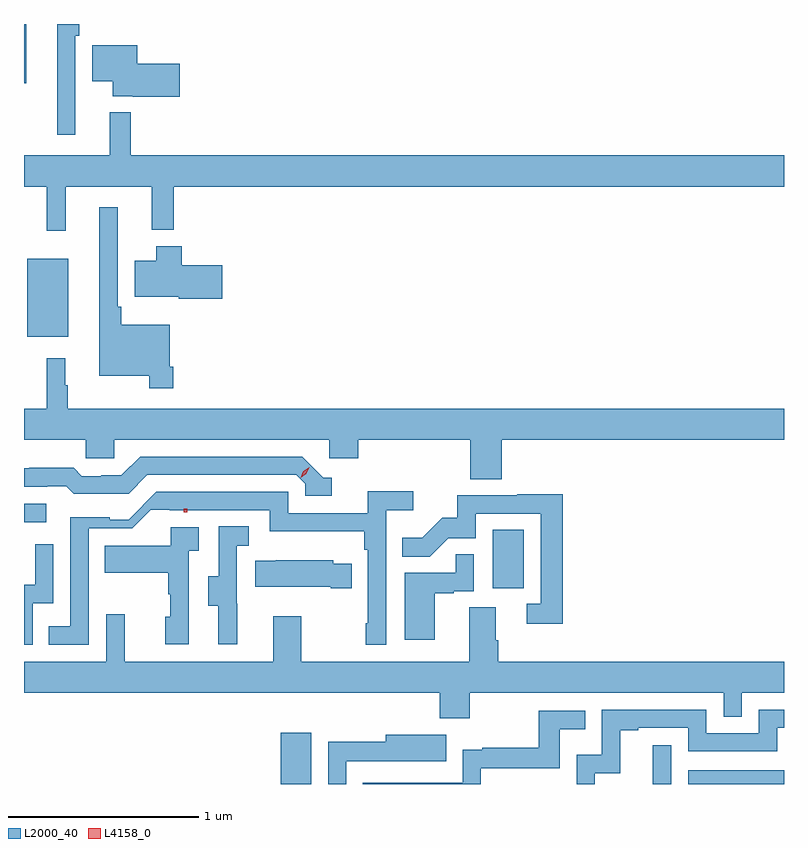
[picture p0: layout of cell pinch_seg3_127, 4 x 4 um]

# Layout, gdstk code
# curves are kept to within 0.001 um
import gdstk
lib = gdstk.Library(unit=1e-6, precision=1e-09)
def R(c, l, rs):  # rectangles x0, y0, x1, y1
    for r in rs: c.add(gdstk.rectangle(r[:2], r[2:], *l))
def P(c, l, *ps):  # polygons
    for p in ps: c.add(gdstk.Polygon(p, *l))
L2000_40 = (2000, 40)
L4158_0 = (4158, 0)

pinch_seg3_127 = lib.new_cell('pinch_seg3_127')
R(pinch_seg3_127, L2000_40, [(1129.724,712.424,1129.885,712.693), (1131.683,712.424,1131.78,712.627), (1131.87,712.424,1132.374,712.497), (1130.84,713.454,1131.004,713.761), (1128.374,713.802,1128.49,713.898), (1128.392,714.779,1128.607,715.189), (1128.374,716.111,1128.385,716.424)])
P(pinch_seg3_127, L2000_40, [(1128.645,716.363),(1128.665,716.363),(1128.665,716.424),(1128.548,716.424),(1128.548,715.842),(1128.645,715.842)],
  [(1129.195,716.216),(1128.97,716.216),(1128.97,716.311),(1128.734,716.311),(1128.734,716.123),(1128.842,716.123),(1128.842,716.045),(1128.946,716.045),(1128.946,716.04),(1129.195,716.04)],
  [(1128.593,715.568),(1129.046,715.568),(1129.046,715.34),(1129.163,715.34),(1129.163,715.568),(1132.374,715.568),(1132.374,715.732),(1128.936,715.732),(1128.936,715.96),(1128.824,715.96),(1128.824,715.732),(1128.374,715.732),(1128.374,715.568),(1128.493,715.568),(1128.493,715.335),(1128.593,715.335)],
  [(1129.16,714.619),(1129.14,714.619),(1129.14,714.841),(1128.887,714.841),(1128.887,714.937),(1128.867,714.937),(1128.867,715.459),(1128.77,715.459),(1128.77,714.572),(1129.032,714.572),(1129.032,714.507),(1129.16,714.507)],
  [(1129.417,715.155),(1129.205,715.155),(1129.205,715.255),(1129.07,715.255),(1129.07,715.177),(1128.956,715.177),(1128.956,714.989),(1129.188,714.989),(1129.188,714.977),(1129.417,714.977)],
  [(1130.888,714.236),(1132.374,714.236),(1132.374,714.4),(1128.604,714.4),(1128.604,714.524),(1128.592,714.524),(1128.592,714.664),(1128.493,714.664),(1128.493,714.4),(1128.374,714.4),(1128.374,714.236),(1128.699,714.236),(1128.699,714.138),(1128.849,714.138),(1128.849,714.236),(1129.98,714.236),(1129.98,714.138),(1130.132,714.138),(1130.132,714.236),(1130.723,714.236),(1130.723,714.028),(1130.888,714.028)],
  [(1129.993,714.036),(1129.95,714.036),(1129.839,714.147),(1128.986,714.147),(1128.887,714.048),(1128.78,714.048),(1128.78,714.045),(1128.677,714.045),(1128.635,714.088),(1128.402,714.088),(1128.402,714.085),(1128.374,714.085),(1128.374,713.988),(1128.497,713.988),(1128.497,713.991),(1128.596,713.991),(1128.636,713.951),(1128.924,713.952),(1129.023,714.051),(1129.806,714.051),(1129.854,714.003),(1129.854,713.94),(1129.993,713.94)],
  [(1128.714,713.769),(1128.943,713.769),(1129.042,713.868),(1129.142,713.868),(1129.142,713.865),(1129.668,713.865),(1129.668,713.753),(1130.164,713.753),(1130.164,713.657),(1130.184,713.657),(1130.184,713.269),(1130.172,713.269),(1130.172,713.157),(1130.28,713.157),(1130.28,713.864),(1130.422,713.864),(1130.422,713.966),(1130.183,713.966),(1130.183,713.85),(1129.764,713.85),(1129.764,713.961),(1129.071,713.961),(1128.926,713.816),(1128.826,713.816),(1128.826,713.828),(1128.618,713.828),(1128.618,713.253),(1128.505,713.253),(1128.505,713.157),(1128.714,713.157)],
  [(1131.209,713.948),(1130.971,713.948),(1130.971,713.943),(1130.653,713.943),(1130.653,713.826),(1130.576,713.826),(1130.469,713.719),(1130.365,713.719),(1130.365,713.62),(1130.509,713.62),(1130.607,713.718),(1130.751,713.718),(1130.751,713.847),(1131.093,713.847),(1131.093,713.373),(1131.021,713.373),(1131.021,713.268),(1131.209,713.268)],
  [(1129.496,713.373),(1129.494,713.373),(1129.494,713.677),(1129.558,713.677),(1129.558,713.78),(1129.398,713.78),(1129.398,713.517),(1129.343,713.517),(1129.343,713.362),(1129.397,713.362),(1129.397,713.16),(1129.496,713.16)],
  [(1129.242,713.651),(1129.294,713.651),(1129.294,713.776),(1129.146,713.776),(1129.146,713.677),(1128.799,713.677),(1128.799,713.537),(1129.134,713.537),(1129.134,713.423),(1129.144,713.423),(1129.144,713.304),(1129.118,713.304),(1129.118,713.16),(1129.242,713.16)],
  [(1128.42,713.376),(1128.528,713.376),(1128.528,713.686),(1128.432,713.686),(1128.432,713.474),(1128.374,713.474),(1128.374,713.157),(1128.42,713.157)],
  [(1130.536,713.427),(1130.636,713.427),(1130.636,713.439),(1130.742,713.439),(1130.742,713.633),(1130.647,713.633),(1130.647,713.535),(1130.378,713.535),(1130.378,713.184),(1130.536,713.184)],
  [(1130.099,713.584),(1130.001,713.584),(1130.001,713.602),(1129.699,713.602),(1129.699,713.599),(1129.591,713.599),(1129.591,713.462),(1129.988,713.462),(1129.988,713.455),(1130.099,713.455)],
  [(1130.721,712.904),(1132.056,712.904),(1132.056,712.777),(1132.152,712.777),(1132.152,712.904),(1132.374,712.904),(1132.374,713.068),(1130.87,713.068),(1130.87,713.18),(1130.857,713.18),(1130.857,713.354),(1130.717,713.354),(1130.717,713.068),(1129.833,713.068),(1129.833,713.308),(1129.685,713.308),(1129.685,713.068),(1128.905,713.068),(1128.905,713.317),(1128.807,713.317),(1128.807,713.068),(1128.374,713.068),(1128.374,712.904),(1130.561,712.904),(1130.561,712.769),(1130.721,712.769)],
  [(1131.378,712.481),(1131.511,712.481),(1131.511,712.707),(1131.607,712.707),(1131.607,712.719),(1131.87,712.719),(1131.87,712.596),(1132.338,712.596),(1132.338,712.719),(1132.374,712.719),(1132.374,712.815),(1132.242,712.815),(1132.242,712.692),(1131.966,712.692),(1131.966,712.815),(1131.414,712.815),(1131.414,712.579),(1131.282,712.579),(1131.282,712.424),(1131.378,712.424)],
  [(1130.778,712.506),(1131.195,712.506),(1131.195,712.712),(1131.329,712.712),(1131.329,712.809),(1131.084,712.809),(1131.084,712.615),(1130.785,712.615),(1130.785,712.603),(1130.682,712.603),(1130.682,712.431),(1130.157,712.431),(1130.157,712.424),(1130.778,712.424)],
  [(1130.07,712.545),(1130.383,712.545),(1130.383,712.544),(1130.597,712.544),(1130.597,712.684),(1130.279,712.684),(1130.279,712.646),(1129.974,712.646),(1129.974,712.424),(1130.07,712.424)])
R(pinch_seg3_127, L4158_0, [(1129.214,713.854,1129.234,713.874)])
P(pinch_seg3_127, L4158_0, [(1129.83,714.037),(1129.83,714.037),(1129.845,714.07),(1129.876,714.09),(1129.876,714.09),(1129.876,714.09),(1129.86,714.057),(1129.83,714.037)])

lib.write_gds('pinch_seg3_127.gds')
